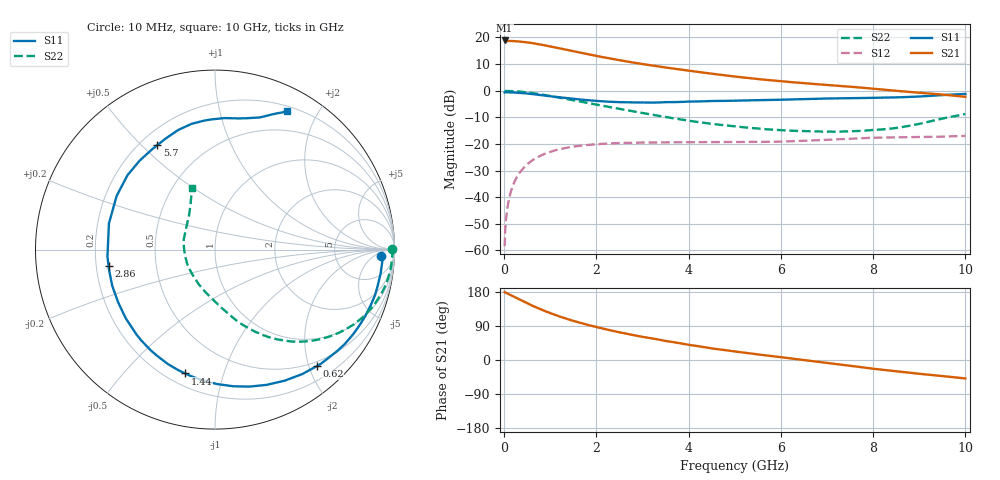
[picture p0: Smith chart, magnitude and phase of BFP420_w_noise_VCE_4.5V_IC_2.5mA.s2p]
! Infineon Technologies  Discrete & RF Semiconductors
! BFP420
! VCE =  4.5 V,  IC =  2.5 mA
! Common Emitter S-Parameters:  Jan 2016
# GHz  S  MA  R  50
!  f  S11  S21  S12  S22
! GHz  MAG  ANG  MAG  ANG  MAG  ANG  MAG  ANG
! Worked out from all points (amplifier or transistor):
!   233 points, 10 MHz to 10 GHz, reference 50 ohm
!   highest |S21| = 18.9 dB at 10 MHz (marker M1)
!   |S21| within 3 dB of that: start of sweep to 1.21 GHz
!   unconditionally stable (mu >= 1): start of sweep to 10.31 MHz; 3.705 GHz to end of sweep
!   at 200 MHz: K = 0.09, MSG = 26.9 dB, |S12| = -35.2 dB
!   at 1.74 GHz: K = 0.40, MSG = 17.2 dB, |S12| = -20.5 dB
!   at 10 GHz: K = 1.19, MAG = 4.7 dB, |S12| = -17.0 dB
!   lowest NFmin = 0.55 dB at 900 MHz
!   S11 on the Smith chart (normalised r, x): 10 MHz: 21, -10; 620 MHz: 0.42, -2.13; 1.44 GHz: 0.27, -0.75; 2.86 GHz: 0.25, -0.07; 5.7 GHz: 0.27, +0.56; 10 GHz: 0.26, +1.62
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0.01  0.9263 -2.2  8.78 179.2  0.0012 19.1  0.9883 0.2
0.02  0.9354 -1.5  8.543 178.8  0.0021 56.9  0.9882 -0.8
0.065  0.9335 -5.2  8.574 175.8  0.0058 75.4  0.988 -2.7
0.17  0.9276 -13.7  8.565 169.4  0.0148 78.3  0.9822 -7.2
0.38  0.9042 -30.3  8.308 156.8  0.0321 71.4  0.9536 -15.9
0.62  0.862 -48.9  7.802 142.8  0.0498 62.1  0.9001 -25.3
0.8  0.8271 -62.0  7.326 133.4  0.0609 55.7  0.852 -31.5
1  0.7868 -76.0  6.787 123.7  0.0712 49.1  0.7951 -37.8
1.2  0.7495 -89.0  6.242 114.8  0.0794 43.3  0.7385 -43.5
1.44  0.7099 -103.5  5.643 105.5  0.0872 37.2  0.6748 -49.4
1.68  0.678 -116.9  5.116 97.0  0.093 31.9  0.6163 -54.6
1.9  0.6539 -128.3  4.677 89.9  0.0971 27.6  0.5675 -58.9
2.2  0.6272 -142.6  4.17 81.1  0.1012 22.6  0.5087 -64.0
2.58  0.607 -159.8  3.639 71.0  0.1044 17.2  0.4421 -70.2
2.86  0.6001 -171.1  3.309 64.4  0.1056 13.9  0.4001 -74.4
3.4  0.6026 169.5  2.806 52.6  0.1067 8.8  0.3315 -82.8
4.5  0.64 139.6  2.084 30.6  0.1081 1.8  0.2385 -104.4
5.1  0.6503 128.8  1.802 21.0  0.1085 -0.4  0.2093 -116.9
5.7  0.665 118.8  1.591 11.9  0.1095 -1.9  0.1882 -131.1
6.8  0.7054 103.1  1.32 -4.7  0.1173 -4.1  0.1706 -160.7
8.4  0.7429 79.7  1.012 -28.6  0.1323 -12.9  0.1944 147.8
10  0.8687 62.4  0.766 -48.7  0.1413 -19.5  0.365 110.5
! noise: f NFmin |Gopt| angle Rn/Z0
0.9  0.55  0.41  33  0.2
1.8  1.02  0.24  78  0.16
2.4  1.11  0.26  103  0.15
3  1.28  0.27  140  0.11
4  1.5  0.34  -163  0.1
5  1.85  0.4  -130  0.26
6  2.56  0.5  -109  0.35
